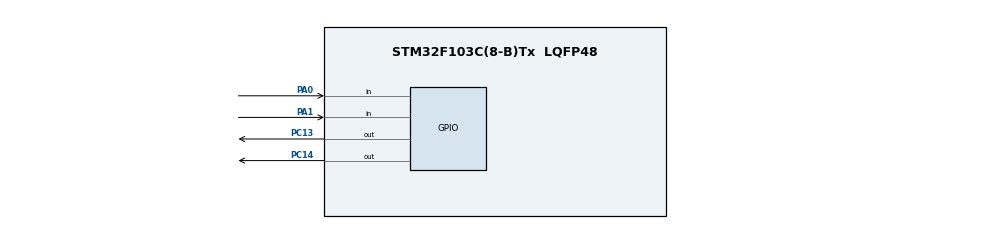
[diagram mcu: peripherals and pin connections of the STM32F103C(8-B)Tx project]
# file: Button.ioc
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Mcu.Family=STM32F1
Mcu.Name=STM32F103C(8-B)Tx
Mcu.Package=LQFP48
NVIC.PriorityGroup=NVIC_PRIORITYGROUP_4
PA0-WKUP.GPIO_PuPd=GPIO_PULLUP
PA0-WKUP.Signal=GPIO_Input
PA1.GPIO_PuPd=GPIO_PULLUP
PA1.Signal=GPIO_Input
PA13.Mode=Serial_Wire
PA13.Signal=SYS_JTMS-SWDIO
PA14.Mode=Serial_Wire
PA14.Signal=SYS_JTCK-SWCLK
PC13-TAMPER-RTC.Signal=GPIO_Output
PC14-OSC32_IN.Signal=GPIO_Output
PD0-OSC_IN.Mode=HSE-External-Oscillator
PD0-OSC_IN.Signal=RCC_OSC_IN
PD1-OSC_OUT.Mode=HSE-External-Oscillator
PD1-OSC_OUT.Signal=RCC_OSC_OUT
ProjectManager.HeapSize=0x200
ProjectManager.StackSize=0x400
ProjectManager.TargetToolchain=MDK-ARM V5.32
RCC.APB1Freq_Value=8000000
RCC.APB2Freq_Value=8000000
board=custom

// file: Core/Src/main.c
/* USER CODE BEGIN Header */
/**
  ******************************************************************************
  * @file           : main.c
  * @brief          : Main program body
  ******************************************************************************
  * @attention
  *
  * Copyright (c) 2024 STMicroelectronics.
  * All rights reserved.
  *
  * This software is licensed under terms that can be found in the LICENSE file
  * in the root directory of this software component.
  * If no LICENSE file comes with this software, it is provided AS-IS.
  *
  ******************************************************************************
  */
/* USER CODE END Header */
#include "main.h"

void SystemClock_Config(void);
static void MX_GPIO_Init(void);

/* USER CODE BEGIN 0 */
//-------------------------var btn-----------
		uint8_t btn_current = 1;
		uint8_t btn_last = 1;
		uint8_t btn_filter = 1;
		uint8_t is_debounne;
		uint32_t time_deboune;
		uint32_t time_start_press;
		uint8_t is_press_timeout;
		uint8_t test;
//---------------------var led --------------
typedef enum
{
		Led_off,
		Led1_blink_1hz,  //---Khoi tao cac trang thai led
		Led2_blink_5hz,
}Ledstatus;
	Ledstatus led_status;
//------------------------
void btn_pressing_callback()
{
	switch (led_status){
		case Led_off :
			led_status = Led1_blink_1hz;
			break;
		case Led1_blink_1hz :
			led_status = Led2_blink_5hz;
		  break;
		case Led2_blink_5hz :
			led_status = Led_off;
			break;
	}
}
void btn_press_short_callback()
{

}
void btn_release_callback()
{
}
void btn_press_timeout_callback()
{

}
void led1_blink1hz()
{
	static uint32_t time_led_1 = 0;
	if(HAL_GetTick()- time_led_1 == 500)
	{
		HAL_GPIO_TogglePin(GPIOC,GPIO_PIN_13);
		time_led_1 = HAL_GetTick();
	}
}
void led2_blink5hz()
{
	static uint32_t time_led_2 = 0;
	if(HAL_GetTick()- time_led_2 == 100)
	{
		HAL_GPIO_TogglePin(GPIOC,GPIO_PIN_14);
		time_led_2 = HAL_GetTick();
	}
}
void led_off()
{
	HAL_GPIO_WritePin(GPIOC,GPIO_PIN_13,1);
	HAL_GPIO_WritePin(GPIOC,GPIO_PIN_14,0);
}
void led_handle()
{
	switch(led_status){
		case Led_off :
			led_off();
			break;
		case Led1_blink_1hz :
			led1_blink1hz();
			break;
		case Led2_blink_5hz :
			led2_blink5hz();
			break;
	}
}
void button_handle()
{
			//---------------------LOc Nhieu-----------------------
		uint8_t sta = HAL_GPIO_ReadPin(GPIOA,GPIO_PIN_0);
			if(sta != btn_filter)   // neu nhan nut
			{
				btn_filter = sta;
				is_debounne = 1;
				time_deboune = HAL_GetTick();
			}
			if(is_debounne && (HAL_GetTick() - time_deboune >= 15 ))
			{ //----------kiem tra xem con nhieu ko---------
				btn_current = btn_filter;
				is_debounne = 0;
			}
			//-------------Xu ly nhan nha-----------------------
			if(btn_current != btn_last)
			{
				if(btn_current == 0) // nhan xuong
				{
					is_press_timeout = 1;
					btn_pressing_callback();
					time_start_press = HAL_GetTick();

				}
				else // nha nut
				{
					if(HAL_GetTick() - time_start_press <= 1000)
					{
						btn_press_short_callback();
						is_press_timeout = 0;
					}
					btn_release_callback();
				}
				btn_last = btn_current;
			}
			if(is_press_timeout && (HAL_GetTick() - time_start_press >= 3000))
	  {
		btn_press_timeout_callback();
		is_press_timeout =0;
		}
}
/* USER CODE END 0 */

int main(void)
{

  /* MCU Configuration--------------------------------------------------------*/

  /* Reset of all peripherals, Initializes the Flash interface and the Systick. */
  HAL_Init();

  /* Configure the system clock */
  SystemClock_Config();

  /* Initialize all configured peripherals */
  MX_GPIO_Init();
  /* USER CODE BEGIN 2 */
		led_status = Led_off;
  /* USER CODE END 2 */

  /* Infinite loop */
  while (1)
  {

  }
}

void SystemClock_Config(void)
{
  RCC_OscInitTypeDef RCC_OscInitStruct = {0};
  RCC_ClkInitTypeDef RCC_ClkInitStruct = {0};

  /** Initializes the RCC Oscillators according to the specified parameters
  * in the RCC_OscInitTypeDef structure.
  */
  RCC_OscInitStruct.OscillatorType = RCC_OSCILLATORTYPE_HSI;
  RCC_OscInitStruct.HSIState = RCC_HSI_ON;
  RCC_OscInitStruct.HSICalibrationValue = RCC_HSICALIBRATION_DEFAULT;
  RCC_OscInitStruct.PLL.PLLState = RCC_PLL_NONE;
  if (HAL_RCC_OscConfig(&RCC_OscInitStruct) != HAL_OK)
  {
    Error_Handler();
  }

  /** Initializes the CPU, AHB and APB buses clocks
  */
  RCC_ClkInitStruct.ClockType = RCC_CLOCKTYPE_HCLK|RCC_CLOCKTYPE_SYSCLK
                              |RCC_CLOCKTYPE_PCLK1|RCC_CLOCKTYPE_PCLK2;
  RCC_ClkInitStruct.SYSCLKSource = RCC_SYSCLKSOURCE_HSI;
  RCC_ClkInitStruct.AHBCLKDivider = RCC_SYSCLK_DIV1;
  RCC_ClkInitStruct.APB1CLKDivider = RCC_HCLK_DIV1;
  RCC_ClkInitStruct.APB2CLKDivider = RCC_HCLK_DIV1;

  if (HAL_RCC_ClockConfig(&RCC_ClkInitStruct, FLASH_LATENCY_0) != HAL_OK)
  {
    Error_Handler();
  }
}

static void MX_GPIO_Init(void)
{
  GPIO_InitTypeDef GPIO_InitStruct = {0};

  /* GPIO Ports Clock Enable */
  __HAL_RCC_GPIOC_CLK_ENABLE();
  __HAL_RCC_GPIOD_CLK_ENABLE();
  __HAL_RCC_GPIOA_CLK_ENABLE();

  /*Configure GPIO pin Output Level */
  HAL_GPIO_WritePin(GPIOC, GPIO_PIN_13|GPIO_PIN_14, GPIO_PIN_RESET);

  /*Configure GPIO pins : PC13 PC14 */
  GPIO_InitStruct.Pin = GPIO_PIN_13|GPIO_PIN_14;
  GPIO_InitStruct.Mode = GPIO_MODE_OUTPUT_PP;
  GPIO_InitStruct.Pull = GPIO_NOPULL;
  GPIO_InitStruct.Speed = GPIO_SPEED_FREQ_LOW;
  HAL_GPIO_Init(GPIOC, &GPIO_InitStruct);

  /*Configure GPIO pins : PA0 PA1 */
  GPIO_InitStruct.Pin = GPIO_PIN_0|GPIO_PIN_1;
  GPIO_InitStruct.Mode = GPIO_MODE_INPUT;
  GPIO_InitStruct.Pull = GPIO_PULLUP;
  HAL_GPIO_Init(GPIOA, &GPIO_InitStruct);

}

void Error_Handler(void)
{
  __disable_irq();
  while (1)
  {
  }
}
